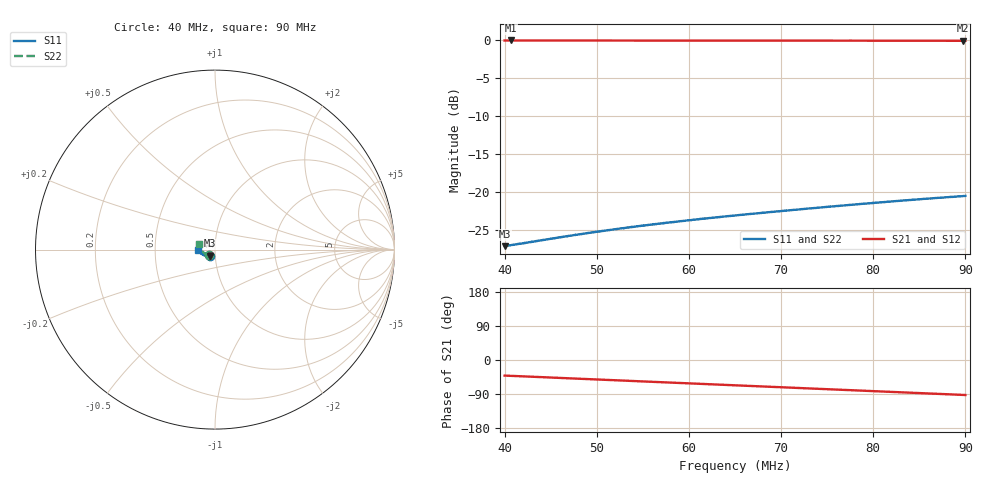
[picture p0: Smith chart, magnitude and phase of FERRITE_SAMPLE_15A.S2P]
!Agilent Technologies,E5061B,MY49102235,A.02.00
!Date: Mon Jul 03 10:29:35 2023
!Data & Calibration Information:
!Freq	S11:SOLT2(ON)	S21:SOLT2(ON)	S12:SOLT2(ON)	S22:SOLT2(ON)
# Hz S RI R 50
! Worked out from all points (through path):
!   1600 points, 40 MHz to 90 MHz, reference 50 ohm
!   highest |S21| = -0.01 dB at 40.69 MHz (marker M1); lowest = -0.1 dB at 89.78 MHz (marker M2)
!   group delay of S21, straight-line fit = 2.85 ns
!   lowest |S11| = -27.2 dB at 40 MHz (marker M3), VSWR 1.09, Z = 47.2 - j3.18 ohm
!   |S11| at or under -10 dB: start of sweep to end of sweep
!   |S22| runs from -27.3 to -20.5 dB; largest |S21 - S12| = 0.0015
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4e7  -0.0282 -0.0336  0.7527 -0.6571  0.7527 -0.6561  -0.0326 -0.0285
4.068793e7  -0.029 -0.0338  0.7448 -0.6663  0.7447 -0.6653  -0.0335 -0.0285
4.306442e7  -0.032 -0.0343  0.7152 -0.6971  0.7157 -0.6966  -0.0372 -0.0284
4.437774e7  -0.0338 -0.0345  0.6986 -0.7136  0.6987 -0.713  -0.0393 -0.0281
4.68793e7  -0.0372 -0.0351  0.6656 -0.7443  0.666 -0.7437  -0.0429 -0.0275
4.834897e7  -0.0392 -0.0353  0.6459 -0.7612  0.6462 -0.7609  -0.0451 -0.0268
5.106942e7  -0.0431 -0.0354  0.6078 -0.7917  0.608 -0.7913  -0.0493 -0.0253
5.297686e7  -0.0457 -0.0353  0.5805 -0.8118  0.5804 -0.8116  -0.0521 -0.0242
5.666667e7  -0.0509 -0.0348  0.5253 -0.8479  0.5254 -0.8473  -0.0574 -0.0212
6.06379e7  -0.0566 -0.0333  0.4636 -0.883  0.4637 -0.8821  -0.0625 -0.0175
6.501563e7  -0.063 -0.0304  0.3932 -0.9164  0.3935 -0.9154  -0.0679 -0.0129
6.901814e7  -0.0688 -0.0268  0.3264 -0.9421  0.327 -0.9415  -0.0727 -0.00817
7.148843e7  -0.0722 -0.0243  0.2844 -0.9556  0.285 -0.9549  -0.0757 -0.0048
7.33646e7  -0.075 -0.0223  0.2518 -0.9647  0.2525 -0.9639  -0.0777 -0.00203
7.570982e7  -0.078 -0.0194  0.211 -0.9741  0.2115 -0.9735  -0.08 0.00152
7.746091e7  -0.0802 -0.0173  0.18 -0.9799  0.1806 -0.9795  -0.0818 0.0044
7.936836e7  -0.0827 -0.015  0.1462 -0.985  0.147 -0.9847  -0.0836 0.00787
8.16823e7  -0.0855 -0.012  0.1053 -0.9899  0.1061 -0.9895  -0.0855 0.0122
8.362101e7  -0.0876 -0.00934  0.0709 -0.9924  0.0715 -0.9923  -0.0868 0.0159
8.596623e7  -0.0901 -0.00598  0.0294 -0.9942  0.0297 -0.994  -0.0881 0.0207
8.978111e7  -0.0939 -0.000134  -0.0379 -0.9933  -0.0376 -0.993  -0.0896 0.0286
9e7  -0.0942 0.000286  -0.0417 -0.9932  -0.0416 -0.993  -0.0897 0.0291
